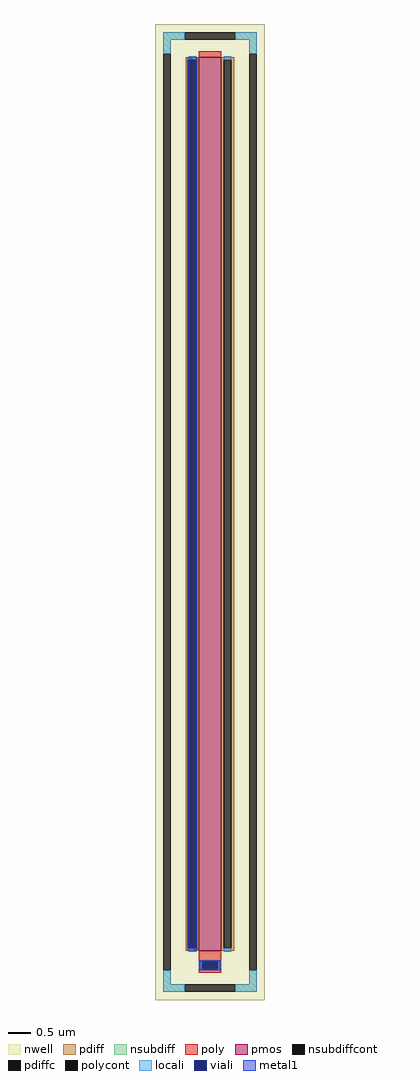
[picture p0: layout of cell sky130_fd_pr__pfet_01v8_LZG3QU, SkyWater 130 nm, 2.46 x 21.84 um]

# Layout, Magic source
magic
tech sky130A
magscale 1 2
<< nwell >>
rect -246 -2184 246 2184
<< pmos >>
rect -50 -1964 50 2036
<< pdiff >>
rect -108 2024 -50 2036
rect -108 -1952 -96 2024
rect -62 -1952 -50 2024
rect -108 -1964 -50 -1952
rect 50 2024 108 2036
rect 50 -1952 62 2024
rect 96 -1952 108 2024
rect 50 -1964 108 -1952
<< pdiffc >>
rect -96 -1952 -62 2024
rect 62 -1952 96 2024
<< nsubdiff >>
rect -210 2114 -114 2148
rect 114 2114 210 2148
rect -210 2051 -176 2114
rect 176 2051 210 2114
rect -210 -2114 -176 -2051
rect 176 -2114 210 -2051
rect -210 -2148 -114 -2114
rect 114 -2148 210 -2114
<< nsubdiffcont >>
rect -114 2114 114 2148
rect -210 -2051 -176 2051
rect 176 -2051 210 2051
rect -114 -2148 114 -2114
<< poly >>
rect -50 2036 50 2062
rect -50 -2011 50 -1964
rect -50 -2045 -34 -2011
rect 34 -2045 50 -2011
rect -50 -2061 50 -2045
<< polycont >>
rect -34 -2045 34 -2011
<< locali >>
rect -210 2114 -114 2148
rect 114 2114 210 2148
rect -210 2051 -176 2114
rect 176 2051 210 2114
rect -96 2024 -62 2040
rect -96 -1968 -62 -1952
rect 62 2024 96 2040
rect 62 -1968 96 -1952
rect -50 -2045 -34 -2011
rect 34 -2045 50 -2011
rect -210 -2114 -176 -2051
rect 176 -2114 210 -2051
rect -210 -2148 -114 -2114
rect 114 -2148 210 -2114
<< viali >>
rect -96 -1952 -62 2024
rect -34 -2045 34 -2011
<< metal1 >>
rect -102 2024 -56 2036
rect -102 -1952 -96 2024
rect -62 -1952 -56 2024
rect -102 -1964 -56 -1952
rect -46 -2011 46 -2005
rect -46 -2045 -34 -2011
rect 34 -2045 46 -2011
rect -46 -2051 46 -2045
<< properties >>
string FIXED_BBOX -193 -2131 193 2131
string gencell sky130_fd_pr__pfet_01v8
string library sky130
string parameters w 20.0 l 0.5 m 1 nf 1 diffcov 100 polycov 100 guard 1 glc 1 grc 1 gtc 1 gbc 1 tbcov 100 rlcov 100 topc 0 botc 1 poverlap 0 doverlap 1 lmin 0.15 wmin 0.42 compatible {sky130_fd_pr__pfet_01v8  sky130_fd_pr__pfet_01v8_lvt sky130_fd_pr__pfet_01v8_hvt  sky130_fd_pr__pfet_g5v0d10v5} full_metal 1 viasrc 0 viadrn 100 viagate 100 viagb 0 viagr 0 viagl 0 viagt 0
<< end >>
